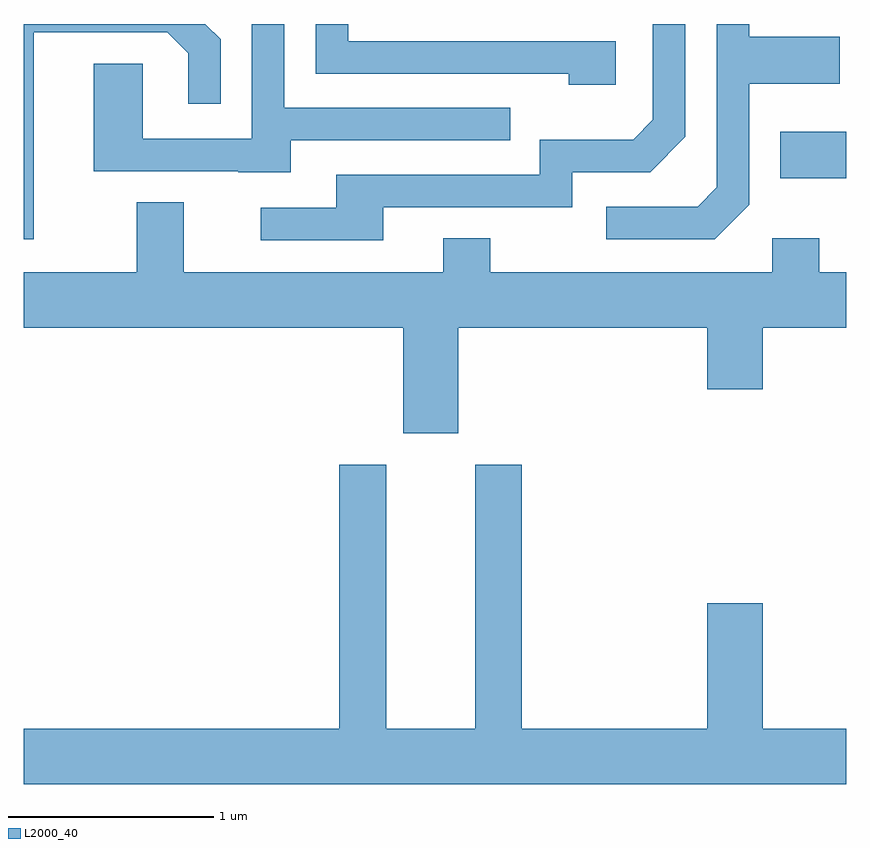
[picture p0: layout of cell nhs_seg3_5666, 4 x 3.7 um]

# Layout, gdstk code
import gdstk
lib = gdstk.Library(unit=1e-6, precision=1e-09)
def R(c, l, rs):  # rectangles x0, y0, x1, y1
    for r in rs: c.add(gdstk.rectangle(r[:2], r[2:], *l))
def P(c, l, *ps):  # polygons
    for p in ps: c.add(gdstk.Polygon(p, *l))
L2000_40 = (2000, 40)

nhs_seg3_5666 = lib.new_cell('nhs_seg3_5666')
R(nhs_seg3_5666, L2000_40, [(355.291,1171.141,355.611,1171.369)])
P(nhs_seg3_5666, L2000_40, [(354.489,1171.809),(353.189,1171.809),(353.189,1171.892),(353.031,1171.892),(353.031,1171.651),(354.261,1171.651),(354.261,1171.596),(354.489,1171.596)],
  [(353.359,1171.001),(354.279,1171.001),(354.279,1171.171),(354.657,1171.171),(354.829,1171.344),(354.829,1171.892),(354.671,1171.892),(354.671,1171.427),(354.574,1171.329),(354.121,1171.329),(354.121,1171.159),(353.131,1171.159),(353.131,1170.999),(352.763,1170.999),(352.763,1170.841),(353.359,1170.841)],
  [(351.659,1171.851),(352.309,1171.851),(352.411,1171.749),(352.411,1171.503),(352.569,1171.503),(352.569,1171.817),(352.494,1171.892),(351.611,1171.892),(351.611,1170.846),(351.659,1170.846)],
  [(355.139,1171.014),(355.139,1171.601),(355.579,1171.601),(355.579,1171.829),(355.139,1171.829),(355.139,1171.892),(354.981,1171.892),(354.981,1171.097),(354.889,1171.004),(354.443,1171.004),(354.443,1170.846),(354.972,1170.846)],
  [(352.909,1171.326),(353.978,1171.326),(353.978,1171.484),(352.879,1171.484),(352.879,1171.892),(352.721,1171.892),(352.721,1171.334),(352.189,1171.334),(352.189,1171.699),(351.951,1171.699),(351.951,1171.176),(352.655,1171.176),(352.655,1171.171),(352.909,1171.171)],
  [(353.724,1170.416),(354.936,1170.416),(354.936,1170.116),(355.204,1170.116),(355.204,1170.416),(355.611,1170.416),(355.611,1170.684),(355.479,1170.684),(355.479,1170.849),(355.251,1170.849),(355.251,1170.684),(353.879,1170.684),(353.879,1170.849),(353.651,1170.849),(353.651,1170.684),(352.389,1170.684),(352.389,1171.024),(352.161,1171.024),(352.161,1170.684),(351.611,1170.684),(351.611,1170.416),(353.456,1170.416),(353.456,1169.901),(353.724,1169.901)],
  [(355.611,1168.464),(355.204,1168.464),(355.204,1169.074),(354.936,1169.074),(354.936,1168.464),(354.034,1168.464),(354.034,1169.749),(353.806,1169.749),(353.806,1168.464),(353.374,1168.464),(353.374,1169.749),(353.146,1169.749),(353.146,1168.464),(351.611,1168.464),(351.611,1168.196),(355.611,1168.196)])

lib.write_gds('nhs_seg3_5666.gds')
